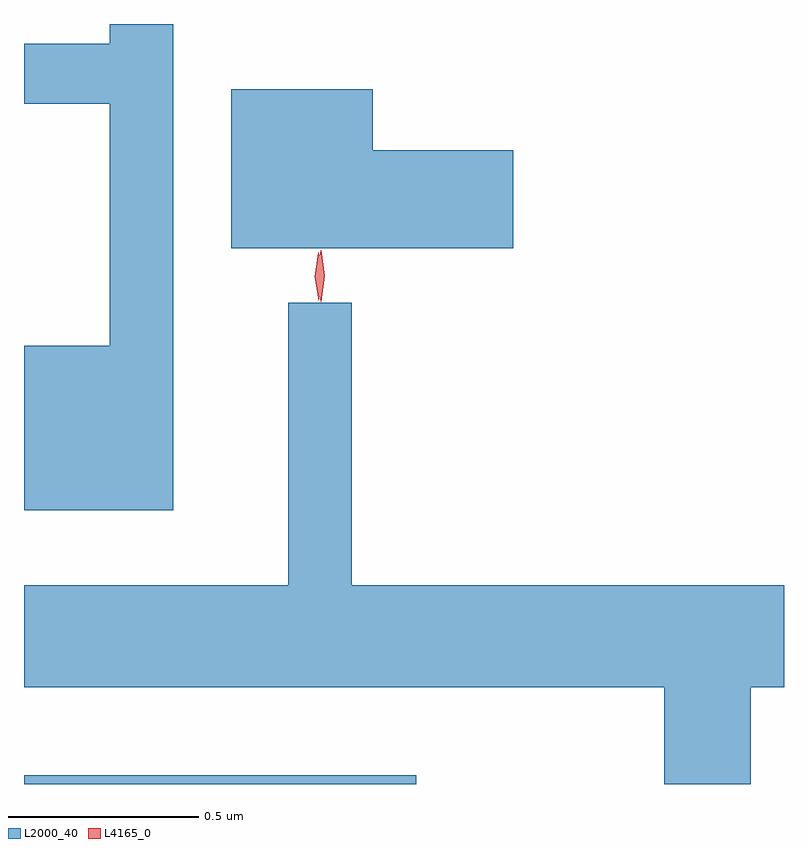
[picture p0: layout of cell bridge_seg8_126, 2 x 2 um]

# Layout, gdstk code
import gdstk
lib = gdstk.Library(unit=1e-6, precision=1e-09)
def R(c, l, rs):  # rectangles x0, y0, x1, y1
    for r in rs: c.add(gdstk.rectangle(r[:2], r[2:], *l))
def P(c, l, *ps):  # polygons
    for p in ps: c.add(gdstk.Polygon(p, *l))
L2000_40 = (2000, 40)
L4165_0 = (4165, 0)

bridge_seg8_126 = lib.new_cell('bridge_seg8_126')
R(bridge_seg8_126, L2000_40, [(1748.966,1825.061,1749.998,1825.084)])
P(bridge_seg8_126, L2000_40, [(1749.359,1827.061),(1749.191,1827.061),(1749.191,1827.009),(1748.966,1827.009),(1748.966,1826.851),(1749.191,1826.851),(1749.191,1826.214),(1748.966,1826.214),(1748.966,1825.781),(1749.359,1825.781)],
  [(1750.254,1826.729),(1749.884,1826.729),(1749.884,1826.889),(1749.511,1826.889),(1749.511,1826.471),(1750.254,1826.471)],
  [(1750.879,1825.316),(1750.966,1825.316),(1750.966,1825.584),(1749.829,1825.584),(1749.829,1826.328),(1749.661,1826.328),(1749.661,1825.584),(1748.966,1825.584),(1748.966,1825.316),(1750.651,1825.316),(1750.651,1825.061),(1750.879,1825.061)])
P(bridge_seg8_126, L4165_0, [(1749.741,1826.333),(1749.731,1826.396),(1749.74,1826.459),(1749.74,1826.46),(1749.741,1826.459),(1749.751,1826.396),(1749.742,1826.333),(1749.742,1826.333)],
  [(1749.747,1826.33),(1749.747,1826.33),(1749.737,1826.398),(1749.747,1826.466),(1749.747,1826.466),(1749.748,1826.466),(1749.757,1826.398),(1749.748,1826.33)])

lib.write_gds('bridge_seg8_126.gds')
